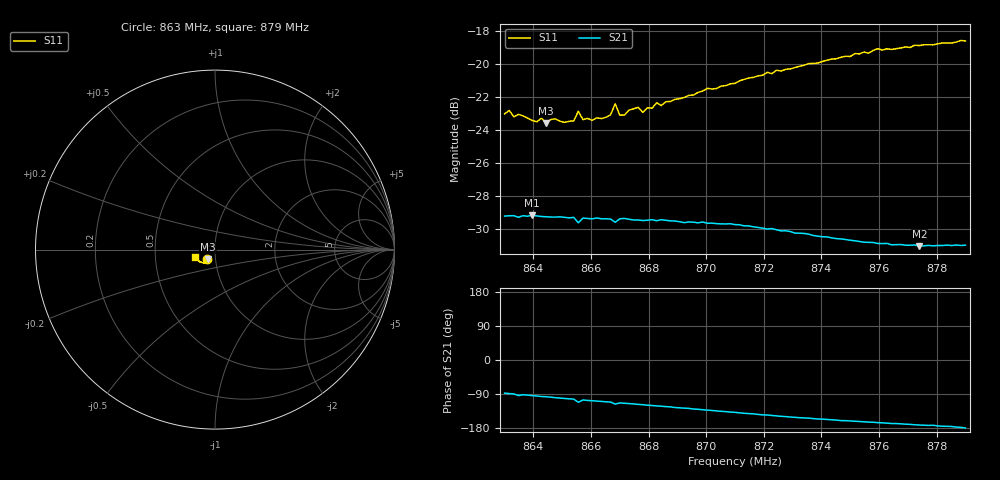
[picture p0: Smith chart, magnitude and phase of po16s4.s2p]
# HZ S RI R 50
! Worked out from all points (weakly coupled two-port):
!   101 points, 863 MHz to 879 MHz, reference 50 ohm
!   highest |S21| = -29.15 dB at 863.96 MHz (marker M1); lowest = -31.0 dB at 877.4 MHz (marker M2)
!   lowest |S11| = -23.6 dB at 864.44 MHz (marker M3), VSWR 1.14, Z = 46 - j4.94 ohm
!   |S11| at or under -10 dB: start of sweep to end of sweep
!   S12 and S22 are empty: the file has one direction only
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8.63e8  -0.0449 -0.0545  0.00156 -0.0346  0 0  0 0
8.6316e8  -0.0465 -0.0553  0.000868 -0.0347  0 0  0 0
8.6332e8  -0.043 -0.0542  0.000246 -0.0347  0 0  0 0
8.6396e8  -0.0415 -0.0531  -0.00241 -0.0348  0 0  0 0
8.6428e8  -0.0408 -0.0552  -0.00385 -0.0343  0 0  0 0
8.6444e8  -0.039 -0.0534  -0.00413 -0.0342  0 0  0 0
8.654e8  -0.0366 -0.0564  -0.00785 -0.0334  0 0  0 0
8.6556e8  -0.0439 -0.057  -0.0122 -0.0307  0 0  0 0
8.6572e8  -0.036 -0.0575  -0.00911 -0.0329  0 0  0 0
8.6652e8  -0.0346 -0.0596  -0.0118 -0.0319  0 0  0 0
8.6668e8  -0.035 -0.0608  -0.0121 -0.0317  0 0  0 0
8.6684e8  -0.042 -0.063  -0.0148 -0.0297  0 0  0 0
8.67e8  -0.0351 -0.0605  -0.0134 -0.0312  0 0  0 0
8.6764e8  -0.0365 -0.0642  -0.0153 -0.03  0 0  0 0
8.678e8  -0.0356 -0.0618  -0.0158 -0.0296  0 0  0 0
8.6828e8  -0.0372 -0.0666  -0.0174 -0.0287  0 0  0 0
8.6844e8  -0.0361 -0.0655  -0.0179 -0.0287  0 0  0 0
8.71e8  -0.0483 -0.0727  -0.0243 -0.0218  0 0  0 0
8.7372e8  -0.0686 -0.0732  -0.0273 -0.013  0 0  0 0
8.7644e8  -0.0917 -0.0617  -0.0277 -0.00605  0 0  0 0
8.774e8  -0.0999 -0.0542  -0.0278 -0.00412  0 0  0 0
8.79e8  -0.1107 -0.0386  -0.0283 -0.000318  0 0  0 0
